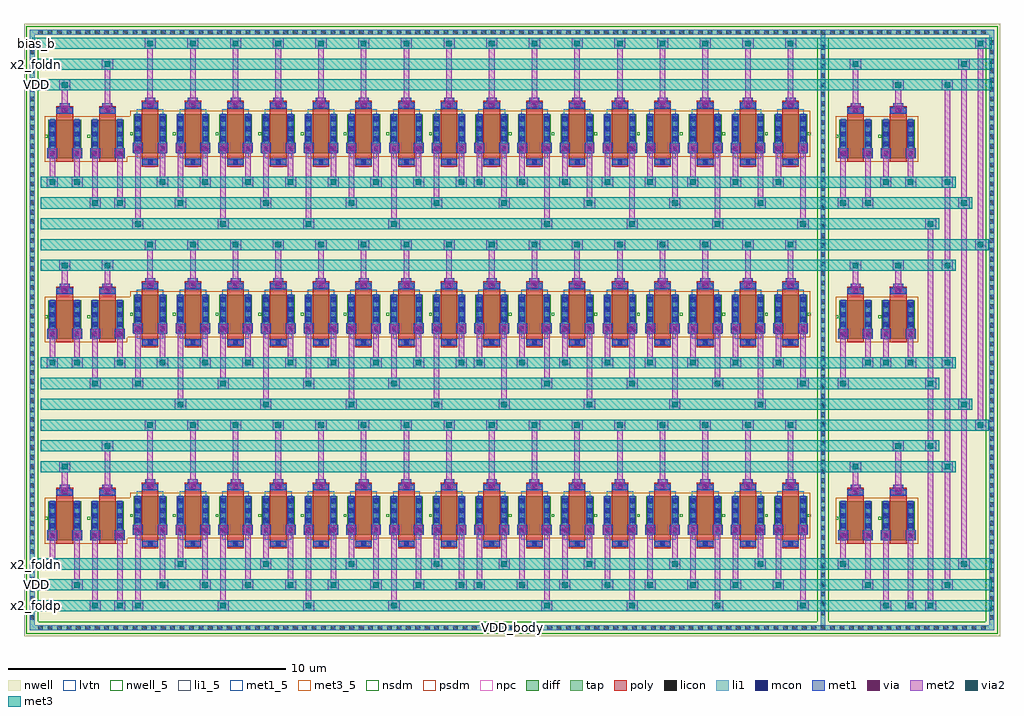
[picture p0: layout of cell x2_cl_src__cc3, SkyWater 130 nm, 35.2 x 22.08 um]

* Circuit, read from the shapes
.subckt x2_cl_src__cc3 VDD VDD_body bias_b x2_foldn x2_foldp
XM1 VDD VDD x2_foldn VDD_body sky130_fd_pr__pfet_01v8 w=1.4 l=0.6 m=2
XM2 VDD VDD VDD VDD_body sky130_fd_pr__pfet_01v8 w=1.4 l=0.6 m=4
XM3 x2_foldp x2_foldp x2_foldp VDD_body sky130_fd_pr__pfet_01v8 w=1.4 l=0.6 m=2
XM4 VDD VDD x2_foldp VDD_body sky130_fd_pr__pfet_01v8 w=1.4 l=0.6 m=2
XM5 x2_foldn x2_foldn x2_foldn VDD_body sky130_fd_pr__pfet_01v8 w=1.4 l=0.6 m=2
XM6 VDD bias_b x2_foldp VDD_body sky130_fd_pr__pfet_01v8_lvt w=1.4 l=0.6 m=24
XM7 VDD bias_b x2_foldn VDD_body sky130_fd_pr__pfet_01v8_lvt w=1.4 l=0.6 m=24
.ends

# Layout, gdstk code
from math import pi, radians
import gdstk
lib = gdstk.Library(unit=1e-6, precision=1e-09)
def R(c, l, rs):  # rectangles x0, y0, x1, y1
    for r in rs: c.add(gdstk.rectangle(r[:2], r[2:], *l))
def A(c, l, x, y, w, h, nx, ny, dx, dy):  # array of equal rectangles
    R(c, l, [(x+i*dx, y+j*dy, x+i*dx+w, y+j*dy+h) for i in range(nx) for j in range(ny)])
nwell_5 = (64, 5)
nwell = (64, 20)
diff = (65, 20)
tap = (65, 44)
poly = (66, 20)
licon = (66, 44)
li1_5 = (67, 5)
li1 = (67, 20)
mcon = (67, 44)
met1_5 = (68, 5)
met1 = (68, 20)
via = (68, 44)
met2 = (69, 20)
via2 = (69, 44)
met3_5 = (70, 5)
met3 = (70, 20)
nsdm = (93, 44)
psdm = (94, 20)
npc = (95, 20)
lvtn = (125, 44)

sky130_fd_pr__pfet_01v8_ = lib.new_cell('sky130_fd_pr__pfet_01v8_7A4LUF')
R(sky130_fd_pr__pfet_01v8_, nwell, [(-0.77,-1.19,0.77,1.02)])
R(sky130_fd_pr__pfet_01v8_, diff, [(-0.59,-0.88,0.59,0.52)])
R(sky130_fd_pr__pfet_01v8_, poly, [(-0.3,-1.01,0.3,1.005)])
A(sky130_fd_pr__pfet_01v8_, licon, -0.53, -0.775, 0.17, 0.17, 1, 4, 0, 0.34)
A(sky130_fd_pr__pfet_01v8_, licon, 0.36, -0.775, 0.17, 0.17, 1, 4, 0, 0.34)
R(sky130_fd_pr__pfet_01v8_, licon, [(-0.085,0.755,0.085,0.925)])
R(sky130_fd_pr__pfet_01v8_, li1, [(-0.53,-0.9,-0.36,0.54), (0.36,-0.9,0.53,0.54), (-0.3,0.755,0.3,0.925)])
A(sky130_fd_pr__pfet_01v8_, mcon, -0.53, -0.805, 0.17, 0.17, 1, 4, 0, 0.36)
A(sky130_fd_pr__pfet_01v8_, mcon, 0.36, -0.805, 0.17, 0.17, 1, 4, 0, 0.36)
R(sky130_fd_pr__pfet_01v8_, mcon, [(-0.085,0.755,0.085,0.925)])
R(sky130_fd_pr__pfet_01v8_, met1, [(-0.56,-0.88,-0.33,0.52), (0.33,-0.88,0.56,0.52), (-0.28,0.725,0.28,0.955)])
R(sky130_fd_pr__pfet_01v8_, psdm, [(-0.715,-1.005,0.715,0.645)])
R(sky130_fd_pr__pfet_01v8_, npc, [(-0.185,0.655,0.185,1.025)])
sky130_fd_pr__pfet_01v8_.add(gdstk.Label('D', (-0.445,-0.18), layer=67, texttype=5))
sky130_fd_pr__pfet_01v8_.add(gdstk.Label('S', (0.445,-0.18), layer=67, texttype=5))
sky130_fd_pr__pfet_01v8_.add(gdstk.Label('G', (0,0.84), layer=67, texttype=5))

pfet_01v8_w1p4_l0p6_m2__ = lib.new_cell('pfet_01v8_W1p4_L0p6_m2__nf1_gtop_sdfull_ng')
R(pfet_01v8_w1p4_l0p6_m2__, nwell_5, [(0.05,1.055,0.15,1.155)])
R(pfet_01v8_w1p4_l0p6_m2__, nwell, [(0.05,1.055,0.15,1.155)])
R(pfet_01v8_w1p4_l0p6_m2__, met1_5, [(0.21,1.01,0.44,1.21), (1.1,1.01,1.33,1.21), (0.49,1.915,1.05,2.145)])
R(pfet_01v8_w1p4_l0p6_m2__, met1, [(0.21,1.01,0.44,1.21), (1.1,1.01,1.33,1.21), (0.49,1.915,1.05,2.145)])
pfet_01v8_w1p4_l0p6_m2__.add(gdstk.Reference(sky130_fd_pr__pfet_01v8_, (0.77,1.19)))
pfet_01v8_w1p4_l0p6_m2__.add(gdstk.Label('D', (0.325,1.11), layer=68, texttype=5))
pfet_01v8_w1p4_l0p6_m2__.add(gdstk.Label('S', (1.215,1.11), layer=68, texttype=5))
pfet_01v8_w1p4_l0p6_m2__.add(gdstk.Label('G', (0.77,2.03), layer=68, texttype=5))
pfet_01v8_w1p4_l0p6_m2__.add(gdstk.Label('B', (0.1,1.105), layer=64, texttype=5))

c_sky130_fd_pr__pfet_01v8_ = lib.new_cell('sky130_fd_pr__pfet_01v8_lvt_PJ46JE')
R(c_sky130_fd_pr__pfet_01v8_, nwell, [(-0.77,-1.2,0.77,1.2)])
R(c_sky130_fd_pr__pfet_01v8_, diff, [(-0.59,-0.7,0.59,0.7)])
R(c_sky130_fd_pr__pfet_01v8_, poly, [(-0.3,-1.185,0.3,1.185)])
A(c_sky130_fd_pr__pfet_01v8_, licon, -0.53, -0.595, 0.17, 0.17, 1, 4, 0, 0.34)
A(c_sky130_fd_pr__pfet_01v8_, licon, 0.36, -0.595, 0.17, 0.17, 1, 4, 0, 0.34)
R(c_sky130_fd_pr__pfet_01v8_, licon, [(-0.085,-1.105,0.085,-0.935), (-0.085,0.935,0.085,1.105)])
R(c_sky130_fd_pr__pfet_01v8_, li1, [(-0.3,-1.105,0.3,-0.935), (-0.53,-0.72,-0.36,0.72), (0.36,-0.72,0.53,0.72), (-0.3,0.935,0.3,1.105)])
A(c_sky130_fd_pr__pfet_01v8_, mcon, -0.53, -0.625, 0.17, 0.17, 1, 4, 0, 0.36)
A(c_sky130_fd_pr__pfet_01v8_, mcon, 0.36, -0.625, 0.17, 0.17, 1, 4, 0, 0.36)
R(c_sky130_fd_pr__pfet_01v8_, mcon, [(-0.085,-1.105,0.085,-0.935), (-0.085,0.935,0.085,1.105)])
R(c_sky130_fd_pr__pfet_01v8_, met1, [(-0.28,-1.135,0.28,-0.905), (-0.56,-0.7,-0.33,0.7), (0.33,-0.7,0.56,0.7), (-0.28,0.905,0.28,1.135)])
R(c_sky130_fd_pr__pfet_01v8_, psdm, [(-0.715,-0.825,0.715,0.825)])
R(c_sky130_fd_pr__pfet_01v8_, npc, [(-0.185,-1.205,0.185,-0.835), (-0.185,0.835,0.185,1.205)])
R(c_sky130_fd_pr__pfet_01v8_, lvtn, [(-0.48,-0.88,0.48,0.88)])
c_sky130_fd_pr__pfet_01v8_.add(gdstk.Label('D', (-0.445,0), layer=67, texttype=5))
c_sky130_fd_pr__pfet_01v8_.add(gdstk.Label('S', (0.445,0), layer=67, texttype=5))
c_sky130_fd_pr__pfet_01v8_.add(gdstk.Label('G', (0,1.02), layer=67, texttype=5))

pfet_01v8_lvt_w1p4_l0p6_ = lib.new_cell('pfet_01v8_lvt_W1p4_L0p6_m24__nf1_gboth_sdfull_ng')
R(pfet_01v8_lvt_w1p4_l0p6_, nwell_5, [(0.05,1.15,0.15,1.25)])
R(pfet_01v8_lvt_w1p4_l0p6_, nwell, [(0.05,1.15,0.15,1.25)])
R(pfet_01v8_lvt_w1p4_l0p6_, met1_5, [(0.21,1.2,0.44,1.4), (1.1,1.2,1.33,1.4), (0.49,2.105,1.05,2.335)])
R(pfet_01v8_lvt_w1p4_l0p6_, met1, [(0.21,1.2,0.44,1.4), (1.1,1.2,1.33,1.4), (0.49,2.105,1.05,2.335)])
pfet_01v8_lvt_w1p4_l0p6_.add(gdstk.Reference(c_sky130_fd_pr__pfet_01v8_, (0.77,1.2)))
pfet_01v8_lvt_w1p4_l0p6_.add(gdstk.Label('D', (0.325,1.3), layer=68, texttype=5))
pfet_01v8_lvt_w1p4_l0p6_.add(gdstk.Label('S', (1.215,1.3), layer=68, texttype=5))
pfet_01v8_lvt_w1p4_l0p6_.add(gdstk.Label('G', (0.77,2.22), layer=68, texttype=5))
pfet_01v8_lvt_w1p4_l0p6_.add(gdstk.Label('B', (0.1,1.2), layer=64, texttype=5))

x2_cl_src__cc3 = lib.new_cell('x2_cl_src__cc3')
R(x2_cl_src__cc3, nwell, [(-0.7,-3.15,34.5,18.93)])
R(x2_cl_src__cc3, tap, [(-0.485,-2.935,34.285,-2.765), (-0.485,-2.765,-0.315,18.545), (28.035,-2.765,28.205,18.545), (34.115,-2.765,34.285,18.545), (-0.485,18.545,34.285,18.715)])
A(x2_cl_src__cc3, licon, -0.185, -2.935, 0.17, 0.17, 101, 2, 0.34, 21.48)
A(x2_cl_src__cc3, licon, -0.485, -2.565, 0.17, 0.17, 1, 62, 0, 0.34)
A(x2_cl_src__cc3, licon, 34.115, -2.565, 0.17, 0.17, 1, 62, 0, 0.34)
A(x2_cl_src__cc3, licon, 28.035, -2.395, 0.17, 0.17, 1, 61, 0, 0.34)
R(x2_cl_src__cc3, li1_5, [(16.85,-2.9,16.95,-2.8)])
R(x2_cl_src__cc3, li1, [(-0.485,-2.935,34.285,-2.765), (-0.485,-2.765,-0.315,18.545), (28.035,-2.765,28.205,18.545), (34.115,-2.765,34.285,18.545), (-0.485,18.545,34.285,18.715)])
A(x2_cl_src__cc3, met1, 3.67, 2.14, 0.36, 0.36, 16, 2, 1.54, 7.26)
A(x2_cl_src__cc3, met1, 3.67, 15.91, 0.36, 0.36, 16, 1, 1.54, 0)
R(x2_cl_src__cc3, met1, [(0.145,0.31,0.505,0.67), (1.035,0.31,1.395,0.67), (1.685,0.31,2.045,0.67), (2.575,0.31,2.935,0.67), (28.665,0.31,29.025,0.67), (29.555,0.31,29.915,0.67), (30.205,0.31,30.565,0.67), (31.095,0.31,31.455,0.67), (3.225,0.505,3.585,0.865), (4.115,0.505,4.475,0.865), (4.765,0.505,5.125,0.865), (5.655,0.505,6.015,0.865), (6.305,0.505,6.665,0.865), (7.195,0.505,7.555,0.865), (7.845,0.505,8.205,0.865), (8.735,0.505,9.095,0.865), (9.385,0.505,9.745,0.865), (10.275,0.505,10.635,0.865), (10.925,0.505,11.285,0.865), (11.815,0.505,12.175,0.865), (12.465,0.505,12.825,0.865), (13.355,0.505,13.715,0.865), (14.005,0.505,14.365,0.865), (14.895,0.505,15.255,0.865), (15.545,0.505,15.905,0.865), (16.435,0.505,16.795,0.865), (17.085,0.505,17.445,0.865), (17.975,0.505,18.335,0.865), (18.625,0.505,18.985,0.865), (19.515,0.505,19.875,0.865), (20.165,0.505,20.525,0.865), (21.055,0.505,21.415,0.865), (21.705,0.505,22.065,0.865), (22.595,0.505,22.955,0.865), (23.245,0.505,23.605,0.865), (24.135,0.505,24.495,0.865), (24.785,0.505,25.145,0.865), (25.675,0.505,26.035,0.865), (26.325,0.505,26.685,0.865), (27.215,0.505,27.575,0.865), (0.59,1.945,0.95,2.305), (2.13,1.945,2.49,2.305), (29.11,1.945,29.47,2.305), (30.65,1.945,31.01,2.305), (0.145,7.57,0.505,7.93), (1.035,7.57,1.395,7.93), (1.685,7.57,2.045,7.93), (2.575,7.57,2.935,7.93), (28.665,7.57,29.025,7.93), (29.555,7.57,29.915,7.93), (30.205,7.57,30.565,7.93), (31.095,7.57,31.455,7.93), (3.225,7.765,3.585,8.125), (4.115,7.765,4.475,8.125), (4.765,7.765,5.125,8.125), (5.655,7.765,6.015,8.125), (6.305,7.765,6.665,8.125), (7.195,7.765,7.555,8.125), (7.845,7.765,8.205,8.125), (8.735,7.765,9.095,8.125), (9.385,7.765,9.745,8.125), (10.275,7.765,10.635,8.125), (10.925,7.765,11.285,8.125), (11.815,7.765,12.175,8.125), (12.465,7.765,12.825,8.125), (13.355,7.765,13.715,8.125), (14.005,7.765,14.365,8.125), (14.895,7.765,15.255,8.125), (15.545,7.765,15.905,8.125), (16.435,7.765,16.795,8.125), (17.085,7.765,17.445,8.125), (17.975,7.765,18.335,8.125), (18.625,7.765,18.985,8.125), (19.515,7.765,19.875,8.125), (20.165,7.765,20.525,8.125), (21.055,7.765,21.415,8.125), (21.705,7.765,22.065,8.125), (22.595,7.765,22.955,8.125), (23.245,7.765,23.605,8.125), (24.135,7.765,24.495,8.125), (24.785,7.765,25.145,8.125), (25.675,7.765,26.035,8.125), (26.325,7.765,26.685,8.125), (27.215,7.765,27.575,8.125), (0.59,9.205,0.95,9.565), (2.13,9.205,2.49,9.565), (29.11,9.205,29.47,9.565), (30.65,9.205,31.01,9.565), (0.145,14.08,0.505,14.44), (1.035,14.08,1.395,14.44), (1.685,14.08,2.045,14.44), (2.575,14.08,2.935,14.44), (28.665,14.08,29.025,14.44), (29.555,14.08,29.915,14.44), (30.205,14.08,30.565,14.44), (31.095,14.08,31.455,14.44), (3.225,14.275,3.585,14.635), (4.115,14.275,4.475,14.635), (4.765,14.275,5.125,14.635), (5.655,14.275,6.015,14.635), (6.305,14.275,6.665,14.635), (7.195,14.275,7.555,14.635), (7.845,14.275,8.205,14.635), (8.735,14.275,9.095,14.635), (9.385,14.275,9.745,14.635), (10.275,14.275,10.635,14.635), (10.925,14.275,11.285,14.635), (11.815,14.275,12.175,14.635), (12.465,14.275,12.825,14.635), (13.355,14.275,13.715,14.635), (14.005,14.275,14.365,14.635), (14.895,14.275,15.255,14.635), (15.545,14.275,15.905,14.635), (16.435,14.275,16.795,14.635), (17.085,14.275,17.445,14.635), (17.975,14.275,18.335,14.635), (18.625,14.275,18.985,14.635), (19.515,14.275,19.875,14.635), (20.165,14.275,20.525,14.635), (21.055,14.275,21.415,14.635), (21.705,14.275,22.065,14.635), (22.595,14.275,22.955,14.635), (23.245,14.275,23.605,14.635), (24.135,14.275,24.495,14.635), (24.785,14.275,25.145,14.635), (25.675,14.275,26.035,14.635), (26.325,14.275,26.685,14.635), (27.215,14.275,27.575,14.635), (0.59,15.715,0.95,16.075), (2.13,15.715,2.49,16.075), (29.11,15.715,29.47,16.075), (30.65,15.715,31.01,16.075)])
A(x2_cl_src__cc3, via, 3.775, 2.245, 0.15, 0.15, 16, 2, 1.54, 7.26)
A(x2_cl_src__cc3, via, 3.775, 16.015, 0.15, 0.15, 16, 1, 1.54, 0)
R(x2_cl_src__cc3, via, [(0.25,0.415,0.4,0.565), (1.14,0.415,1.29,0.565), (1.79,0.415,1.94,0.565), (2.68,0.415,2.83,0.565), (28.77,0.415,28.92,0.565), (29.66,0.415,29.81,0.565), (30.31,0.415,30.46,0.565), (31.2,0.415,31.35,0.565), (3.33,0.61,3.48,0.76), (4.22,0.61,4.37,0.76), (4.87,0.61,5.02,0.76), (5.76,0.61,5.91,0.76), (6.41,0.61,6.56,0.76), (7.3,0.61,7.45,0.76), (7.95,0.61,8.1,0.76), (8.84,0.61,8.99,0.76), (9.49,0.61,9.64,0.76), (10.38,0.61,10.53,0.76), (11.03,0.61,11.18,0.76), (11.92,0.61,12.07,0.76), (12.57,0.61,12.72,0.76), (13.46,0.61,13.61,0.76), (14.11,0.61,14.26,0.76), (15,0.61,15.15,0.76), (15.65,0.61,15.8,0.76), (16.54,0.61,16.69,0.76), (17.19,0.61,17.34,0.76), (18.08,0.61,18.23,0.76), (18.73,0.61,18.88,0.76), (19.62,0.61,19.77,0.76), (20.27,0.61,20.42,0.76), (21.16,0.61,21.31,0.76), (21.81,0.61,21.96,0.76), (22.7,0.61,22.85,0.76), (23.35,0.61,23.5,0.76), (24.24,0.61,24.39,0.76), (24.89,0.61,25.04,0.76), (25.78,0.61,25.93,0.76), (26.43,0.61,26.58,0.76), (27.32,0.61,27.47,0.76), (0.695,2.05,0.845,2.2), (2.235,2.05,2.385,2.2), (29.215,2.05,29.365,2.2), (30.755,2.05,30.905,2.2), (0.25,7.675,0.4,7.825), (1.14,7.675,1.29,7.825), (1.79,7.675,1.94,7.825), (2.68,7.675,2.83,7.825), (28.77,7.675,28.92,7.825), (29.66,7.675,29.81,7.825), (30.31,7.675,30.46,7.825), (31.2,7.675,31.35,7.825), (3.33,7.87,3.48,8.02), (4.22,7.87,4.37,8.02), (4.87,7.87,5.02,8.02), (5.76,7.87,5.91,8.02), (6.41,7.87,6.56,8.02), (7.3,7.87,7.45,8.02), (7.95,7.87,8.1,8.02), (8.84,7.87,8.99,8.02), (9.49,7.87,9.64,8.02), (10.38,7.87,10.53,8.02), (11.03,7.87,11.18,8.02), (11.92,7.87,12.07,8.02), (12.57,7.87,12.72,8.02), (13.46,7.87,13.61,8.02), (14.11,7.87,14.26,8.02), (15,7.87,15.15,8.02), (15.65,7.87,15.8,8.02), (16.54,7.87,16.69,8.02), (17.19,7.87,17.34,8.02), (18.08,7.87,18.23,8.02), (18.73,7.87,18.88,8.02), (19.62,7.87,19.77,8.02), (20.27,7.87,20.42,8.02), (21.16,7.87,21.31,8.02), (21.81,7.87,21.96,8.02), (22.7,7.87,22.85,8.02), (23.35,7.87,23.5,8.02), (24.24,7.87,24.39,8.02), (24.89,7.87,25.04,8.02), (25.78,7.87,25.93,8.02), (26.43,7.87,26.58,8.02), (27.32,7.87,27.47,8.02), (0.695,9.31,0.845,9.46), (2.235,9.31,2.385,9.46), (29.215,9.31,29.365,9.46), (30.755,9.31,30.905,9.46), (0.25,14.185,0.4,14.335), (1.14,14.185,1.29,14.335), (1.79,14.185,1.94,14.335), (2.68,14.185,2.83,14.335), (28.77,14.185,28.92,14.335), (29.66,14.185,29.81,14.335), (30.31,14.185,30.46,14.335), (31.2,14.185,31.35,14.335), (3.33,14.38,3.48,14.53), (4.22,14.38,4.37,14.53), (4.87,14.38,5.02,14.53), (5.76,14.38,5.91,14.53), (6.41,14.38,6.56,14.53), (7.3,14.38,7.45,14.53), (7.95,14.38,8.1,14.53), (8.84,14.38,8.99,14.53), (9.49,14.38,9.64,14.53), (10.38,14.38,10.53,14.53), (11.03,14.38,11.18,14.53), (11.92,14.38,12.07,14.53), (12.57,14.38,12.72,14.53), (13.46,14.38,13.61,14.53), (14.11,14.38,14.26,14.53), (15,14.38,15.15,14.53), (15.65,14.38,15.8,14.53), (16.54,14.38,16.69,14.53), (17.19,14.38,17.34,14.53), (18.08,14.38,18.23,14.53), (18.73,14.38,18.88,14.53), (19.62,14.38,19.77,14.53), (20.27,14.38,20.42,14.53), (21.16,14.38,21.31,14.53), (21.81,14.38,21.96,14.53), (22.7,14.38,22.85,14.53), (23.35,14.38,23.5,14.53), (24.24,14.38,24.39,14.53), (24.89,14.38,25.04,14.53), (25.78,14.38,25.93,14.53), (26.43,14.38,26.58,14.53), (27.32,14.38,27.47,14.53), (0.695,15.82,0.845,15.97), (2.235,15.82,2.385,15.97), (29.215,15.82,29.365,15.97), (30.755,15.82,30.905,15.97)])
A(x2_cl_src__cc3, met2, 3.205, -2.25, 0.4, 0.4, 4, 2, 3.08, 8.01)
A(x2_cl_src__cc3, met2, 17.955, -2.25, 0.4, 0.4, 4, 2, 3.08, 8.01)
A(x2_cl_src__cc3, met2, 3.305, -1.85, 0.2, 2.375, 4, 2, 3.08, 13.77)
A(x2_cl_src__cc3, met2, 18.055, -1.85, 0.2, 2.375, 4, 2, 3.08, 13.77)
A(x2_cl_src__cc3, met2, 4.095, -1.5, 0.4, 0.4, 8, 2, 1.54, 14.52)
A(x2_cl_src__cc3, met2, 15.525, -1.5, 0.4, 0.4, 8, 2, 1.54, 8.01)
A(x2_cl_src__cc3, met2, 4.195, -1.1, 0.2, 1.625, 8, 1, 1.54, 0)
A(x2_cl_src__cc3, met2, 15.625, -1.1, 0.2, 1.625, 8, 1, 1.54, 0)
A(x2_cl_src__cc3, met2, 4.745, -0.75, 0.4, 0.4, 4, 2, 3.08, 5.76)
A(x2_cl_src__cc3, met2, 16.415, -0.75, 0.4, 0.4, 4, 2, 3.08, 5.76)
A(x2_cl_src__cc3, met2, 28.645, -0.75, 0.4, 0.4, 1, 3, 0, 6.51)
A(x2_cl_src__cc3, met2, 4.845, -0.35, 0.2, 0.875, 4, 1, 3.08, 0)
A(x2_cl_src__cc3, met2, 16.515, -0.35, 0.2, 0.875, 4, 1, 3.08, 0)
A(x2_cl_src__cc3, met2, 3.72, 2.16, 0.26, 0.32, 16, 2, 1.54, 7.26)
A(x2_cl_src__cc3, met2, 3.75, 2.48, 0.2, 1.78, 16, 2, 1.54, 13.77)
A(x2_cl_src__cc3, met2, 29.09, 2.76, 0.4, 0.4, 1, 3, 0, 7.26)
A(x2_cl_src__cc3, met2, 30.63, 3.51, 0.4, 0.4, 1, 3, 0, 6.51)
A(x2_cl_src__cc3, met2, 3.65, 4.26, 0.4, 0.4, 16, 2, 1.54, 6.51)
A(x2_cl_src__cc3, met2, 4.845, 5.41, 0.2, 2.375, 4, 1, 3.08, 0)
A(x2_cl_src__cc3, met2, 16.515, 5.41, 0.2, 2.375, 4, 1, 3.08, 0)
A(x2_cl_src__cc3, met2, 3.305, 6.16, 0.2, 1.625, 4, 1, 3.08, 0)
A(x2_cl_src__cc3, met2, 18.055, 6.16, 0.2, 1.625, 4, 1, 3.08, 0)
A(x2_cl_src__cc3, met2, 1.015, 6.51, 0.4, 0.4, 10, 1, 1.54, 0)
A(x2_cl_src__cc3, met2, 4.195, 6.91, 0.2, 0.875, 8, 2, 1.54, 6.51)
A(x2_cl_src__cc3, met2, 15.625, 6.91, 0.2, 0.875, 8, 2, 1.54, 6.51)
A(x2_cl_src__cc3, met2, 3.75, 9.74, 0.2, 1.03, 16, 1, 1.54, 0)
A(x2_cl_src__cc3, met2, 3.205, 11.52, 0.4, 0.4, 4, 1, 3.08, 0)
A(x2_cl_src__cc3, met2, 17.955, 11.52, 0.4, 0.4, 4, 1, 3.08, 0)
A(x2_cl_src__cc3, met2, 4.745, 12.27, 0.4, 0.4, 4, 1, 3.08, 0)
A(x2_cl_src__cc3, met2, 16.415, 12.27, 0.4, 0.4, 4, 1, 3.08, 0)
A(x2_cl_src__cc3, met2, 4.845, 12.67, 0.2, 1.625, 4, 1, 3.08, 0)
A(x2_cl_src__cc3, met2, 16.515, 12.67, 0.2, 1.625, 4, 1, 3.08, 0)
A(x2_cl_src__cc3, met2, 15.525, 13.02, 0.4, 0.4, 8, 1, 1.54, 0)
A(x2_cl_src__cc3, met2, 3.72, 15.93, 0.26, 0.32, 16, 1, 1.54, 0)
A(x2_cl_src__cc3, met2, 3.65, 18.03, 0.4, 0.4, 16, 1, 1.54, 0)
R(x2_cl_src__cc3, met2, [(1.665,-2.25,2.065,-1.85), (2.555,-2.25,2.955,-1.85), (30.185,-2.25,30.585,-1.85), (31.075,-2.25,31.475,-1.85), (31.8,-2.25,32.2,-1.85), (1.765,-1.85,1.965,0.33), (2.655,-1.85,2.855,0.33), (30.285,-1.85,30.485,0.33), (31.175,-1.85,31.375,0.33), (31.9,-1.85,32.1,3.51), (1.015,-1.5,1.415,-1.1), (29.535,-1.5,29.935,-1.1), (32.4,-1.5,32.8,-1.1), (1.115,-1.1,1.315,0.33), (29.635,-1.1,29.835,0.33), (32.5,-1.1,32.7,2.76), (0.125,-0.75,0.525,-0.35), (33,-0.75,33.4,-0.35), (0.225,-0.35,0.425,0.33), (28.745,-0.35,28.945,0.33), (33.1,-0.35,33.3,5.01), (0.195,0.33,0.455,0.65), (1.085,0.33,1.345,0.65), (1.735,0.33,1.995,0.65), (2.625,0.33,2.885,0.65), (28.715,0.33,28.975,0.65), (29.605,0.33,29.865,0.65), (30.255,0.33,30.515,0.65), (31.145,0.33,31.405,0.65), (3.275,0.525,3.535,0.845), (4.165,0.525,4.425,0.845), (4.815,0.525,5.075,0.845), (5.705,0.525,5.965,0.845), (6.355,0.525,6.615,0.845), (7.245,0.525,7.505,0.845), (7.895,0.525,8.155,0.845), (8.785,0.525,9.045,0.845), (9.435,0.525,9.695,0.845), (10.325,0.525,10.585,0.845), (10.975,0.525,11.235,0.845), (11.865,0.525,12.125,0.845), (12.515,0.525,12.775,0.845), (13.405,0.525,13.665,0.845), (14.055,0.525,14.315,0.845), (14.945,0.525,15.205,0.845), (15.595,0.525,15.855,0.845), (16.485,0.525,16.745,0.845), (17.135,0.525,17.395,0.845), (18.025,0.525,18.285,0.845), (18.675,0.525,18.935,0.845), (19.565,0.525,19.825,0.845), (20.215,0.525,20.475,0.845), (21.105,0.525,21.365,0.845), (21.755,0.525,22.015,0.845), (22.645,0.525,22.905,0.845), (23.295,0.525,23.555,0.845), (24.185,0.525,24.445,0.845), (24.835,0.525,25.095,0.845), (25.725,0.525,25.985,0.845), (26.375,0.525,26.635,0.845), (27.265,0.525,27.525,0.845), (0.64,1.965,0.9,2.285), (2.18,1.965,2.44,2.285), (29.16,1.965,29.42,2.285), (30.7,1.965,30.96,2.285), (0.67,2.285,0.87,2.76), (2.21,2.285,2.41,3.51), (29.19,2.285,29.39,2.76), (30.73,2.285,30.93,3.51), (0.57,2.76,0.97,3.16), (32.4,2.76,32.8,3.16), (32.5,3.16,32.7,6.51), (2.11,3.51,2.51,3.91), (31.8,3.51,32.2,3.91), (31.9,3.91,32.1,5.76), (33.6,4.26,34,4.66), (33.7,4.66,33.9,10.77), (33,5.01,33.4,5.41), (33.1,5.41,33.3,12.27), (1.665,5.76,2.065,6.16), (31.8,5.76,32.2,6.16), (1.765,6.16,1.965,7.59), (28.745,6.16,28.945,7.59), (31.9,6.16,32.1,11.52), (0.125,6.51,0.525,6.91), (29.535,6.51,29.935,6.91), (30.185,6.51,30.585,6.91), (31.075,6.51,31.475,6.91), (32.4,6.51,32.8,6.91), (0.225,6.91,0.425,7.59), (1.115,6.91,1.315,7.59), (2.655,6.91,2.855,7.59), (29.635,6.91,29.835,7.59), (30.285,6.91,30.485,7.59), (31.175,6.91,31.375,7.59), (32.5,6.91,32.7,10.02), (0.195,7.59,0.455,7.91), (1.085,7.59,1.345,7.91), (1.735,7.59,1.995,7.91), (2.625,7.59,2.885,7.91), (28.715,7.59,28.975,7.91), (29.605,7.59,29.865,7.91), (30.255,7.59,30.515,7.91), (31.145,7.59,31.405,7.91), (3.275,7.785,3.535,8.105), (4.165,7.785,4.425,8.105), (4.815,7.785,5.075,8.105), (5.705,7.785,5.965,8.105), (6.355,7.785,6.615,8.105), (7.245,7.785,7.505,8.105), (7.895,7.785,8.155,8.105), (8.785,7.785,9.045,8.105), (9.435,7.785,9.695,8.105), (10.325,7.785,10.585,8.105), (10.975,7.785,11.235,8.105), (11.865,7.785,12.125,8.105), (12.515,7.785,12.775,8.105), (13.405,7.785,13.665,8.105), (14.055,7.785,14.315,8.105), (14.945,7.785,15.205,8.105), (15.595,7.785,15.855,8.105), (16.485,7.785,16.745,8.105), (17.135,7.785,17.395,8.105), (18.025,7.785,18.285,8.105), (18.675,7.785,18.935,8.105), (19.565,7.785,19.825,8.105), (20.215,7.785,20.475,8.105), (21.105,7.785,21.365,8.105), (21.755,7.785,22.015,8.105), (22.645,7.785,22.905,8.105), (23.295,7.785,23.555,8.105), (24.185,7.785,24.445,8.105), (24.835,7.785,25.095,8.105), (25.725,7.785,25.985,8.105), (26.375,7.785,26.635,8.105), (27.265,7.785,27.525,8.105), (0.64,9.225,0.9,9.545), (2.18,9.225,2.44,9.545), (29.16,9.225,29.42,9.545), (30.7,9.225,30.96,9.545), (0.67,9.545,0.87,10.02), (2.21,9.545,2.41,10.02), (29.19,9.545,29.39,10.02), (30.73,9.545,30.93,10.02), (0.57,10.02,0.97,10.42), (2.11,10.02,2.51,10.42), (32.4,10.02,32.8,10.42), (32.5,10.42,32.7,13.02), (33.6,10.77,34,11.17), (33.7,11.17,33.9,18.03), (31.8,11.52,32.2,11.92), (1.665,12.27,2.065,12.67), (2.555,12.27,2.955,12.67), (29.535,12.27,29.935,12.67), (33,12.27,33.4,12.67), (1.765,12.67,1.965,14.1), (2.655,12.67,2.855,14.1), (28.745,12.67,28.945,14.1), (29.635,12.67,29.835,14.1), (33.1,12.67,33.3,17.28), (0.125,13.02,0.525,13.42), (1.015,13.02,1.415,13.42), (30.185,13.02,30.585,13.42), (31.075,13.02,31.475,13.42), (32.4,13.02,32.8,13.42), (0.225,13.42,0.425,14.1), (1.115,13.42,1.315,14.1), (30.285,13.42,30.485,14.1), (31.175,13.42,31.375,14.1), (32.5,13.42,32.7,16.53), (0.195,14.1,0.455,14.42), (1.085,14.1,1.345,14.42), (1.735,14.1,1.995,14.42), (2.625,14.1,2.885,14.42), (28.715,14.1,28.975,14.42), (29.605,14.1,29.865,14.42), (30.255,14.1,30.515,14.42), (31.145,14.1,31.405,14.42), (3.275,14.295,3.535,14.615), (4.165,14.295,4.425,14.615), (4.815,14.295,5.075,14.615), (5.705,14.295,5.965,14.615), (6.355,14.295,6.615,14.615), (7.245,14.295,7.505,14.615), (7.895,14.295,8.155,14.615), (8.785,14.295,9.045,14.615), (9.435,14.295,9.695,14.615), (10.325,14.295,10.585,14.615), (10.975,14.295,11.235,14.615), (11.865,14.295,12.125,14.615), (12.515,14.295,12.775,14.615), (13.405,14.295,13.665,14.615), (14.055,14.295,14.315,14.615), (14.945,14.295,15.205,14.615), (15.595,14.295,15.855,14.615), (16.485,14.295,16.745,14.615), (17.135,14.295,17.395,14.615), (18.025,14.295,18.285,14.615), (18.675,14.295,18.935,14.615), (19.565,14.295,19.825,14.615), (20.215,14.295,20.475,14.615), (21.105,14.295,21.365,14.615), (21.755,14.295,22.015,14.615), (22.645,14.295,22.905,14.615), (23.295,14.295,23.555,14.615), (24.185,14.295,24.445,14.615), (24.835,14.295,25.095,14.615), (25.725,14.295,25.985,14.615), (26.375,14.295,26.635,14.615), (27.265,14.295,27.525,14.615), (0.64,15.735,0.9,16.055), (2.18,15.735,2.44,16.055), (29.16,15.735,29.42,16.055), (30.7,15.735,30.96,16.055), (0.67,16.055,0.87,16.53), (2.21,16.055,2.41,17.28), (29.19,16.055,29.39,17.28), (30.73,16.055,30.93,16.53), (0.57,16.53,0.97,16.93), (32.4,16.53,32.8,16.93), (2.11,17.28,2.51,17.68), (33,17.28,33.4,17.68), (33.6,18.03,34,18.43)])
A(x2_cl_src__cc3, via2, 3.305, -2.15, 0.2, 0.2, 4, 2, 3.08, 8.01)
A(x2_cl_src__cc3, via2, 18.055, -2.15, 0.2, 0.2, 4, 2, 3.08, 8.01)
A(x2_cl_src__cc3, via2, 4.195, -1.4, 0.2, 0.2, 8, 2, 1.54, 14.52)
A(x2_cl_src__cc3, via2, 15.625, -1.4, 0.2, 0.2, 8, 2, 1.54, 8.01)
A(x2_cl_src__cc3, via2, 4.845, -0.65, 0.2, 0.2, 4, 2, 3.08, 5.76)
A(x2_cl_src__cc3, via2, 16.515, -0.65, 0.2, 0.2, 4, 2, 3.08, 5.76)
A(x2_cl_src__cc3, via2, 28.745, -0.65, 0.2, 0.2, 1, 3, 0, 6.51)
A(x2_cl_src__cc3, via2, 29.19, 2.86, 0.2, 0.2, 1, 3, 0, 7.26)
A(x2_cl_src__cc3, via2, 30.73, 3.61, 0.2, 0.2, 1, 3, 0, 6.51)
A(x2_cl_src__cc3, via2, 3.75, 4.36, 0.2, 0.2, 16, 2, 1.54, 6.51)
A(x2_cl_src__cc3, via2, 1.115, 6.61, 0.2, 0.2, 10, 1, 1.54, 0)
A(x2_cl_src__cc3, via2, 3.305, 11.62, 0.2, 0.2, 4, 1, 3.08, 0)
A(x2_cl_src__cc3, via2, 18.055, 11.62, 0.2, 0.2, 4, 1, 3.08, 0)
A(x2_cl_src__cc3, via2, 4.845, 12.37, 0.2, 0.2, 4, 1, 3.08, 0)
A(x2_cl_src__cc3, via2, 16.515, 12.37, 0.2, 0.2, 4, 1, 3.08, 0)
A(x2_cl_src__cc3, via2, 15.625, 13.12, 0.2, 0.2, 8, 1, 1.54, 0)
A(x2_cl_src__cc3, via2, 3.75, 18.13, 0.2, 0.2, 16, 1, 1.54, 0)
R(x2_cl_src__cc3, via2, [(1.765,-2.15,1.965,-1.95), (2.655,-2.15,2.855,-1.95), (30.285,-2.15,30.485,-1.95), (31.175,-2.15,31.375,-1.95), (31.9,-2.15,32.1,-1.95), (1.115,-1.4,1.315,-1.2), (29.635,-1.4,29.835,-1.2), (32.5,-1.4,32.7,-1.2), (0.225,-0.65,0.425,-0.45), (33.1,-0.65,33.3,-0.45), (0.67,2.86,0.87,3.06), (32.5,2.86,32.7,3.06), (2.21,3.61,2.41,3.81), (31.9,3.61,32.1,3.81), (33.7,4.36,33.9,4.56), (33.1,5.11,33.3,5.31), (1.765,5.86,1.965,6.06), (31.9,5.86,32.1,6.06), (0.225,6.61,0.425,6.81), (29.635,6.61,29.835,6.81), (30.285,6.61,30.485,6.81), (31.175,6.61,31.375,6.81), (32.5,6.61,32.7,6.81), (0.67,10.12,0.87,10.32), (2.21,10.12,2.41,10.32), (32.5,10.12,32.7,10.32), (33.7,10.87,33.9,11.07), (31.9,11.62,32.1,11.82), (1.765,12.37,1.965,12.57), (2.655,12.37,2.855,12.57), (29.635,12.37,29.835,12.57), (33.1,12.37,33.3,12.57), (0.225,13.12,0.425,13.32), (1.115,13.12,1.315,13.32), (30.285,13.12,30.485,13.32), (31.175,13.12,31.375,13.32), (32.5,13.12,32.7,13.32), (0.67,16.63,0.87,16.83), (32.5,16.63,32.7,16.83), (2.21,17.38,2.41,17.58), (33.1,17.38,33.3,17.58), (33.7,18.13,33.9,18.33)])
A(x2_cl_src__cc3, met3_5, -0.3, -2.1, 0.1, 0.1, 1, 3, 0, 0.75)
A(x2_cl_src__cc3, met3_5, -0.3, 16.68, 0.1, 0.1, 1, 3, 0, 0.75)
A(x2_cl_src__cc3, met3, -0.4, -2.25, 34.6, 0.4, 1, 3, 0, 0.75)
A(x2_cl_src__cc3, met3, -0.4, 16.53, 34.6, 0.4, 1, 3, 0, 0.75)
R(x2_cl_src__cc3, met3, [(-0.1,2.76,32.9,3.16), (-0.1,3.51,32.3,3.91), (-0.1,4.26,34.1,4.66), (-0.1,5.01,33.5,5.41), (-0.1,5.76,32.3,6.16), (-0.1,6.51,32.9,6.91), (-0.1,10.02,32.9,10.42), (-0.1,10.77,34.1,11.17), (-0.1,11.52,32.3,11.92), (-0.1,12.27,33.5,12.67), (-0.1,13.02,32.9,13.42)])
R(x2_cl_src__cc3, nsdm, [(-0.61,-3.06,34.41,-2.64), (-0.61,-2.64,-0.19,18.42), (27.91,-2.64,28.33,18.42), (33.99,-2.64,34.41,18.42), (-0.61,18.42,34.41,18.84)])
A(x2_cl_src__cc3, psdm, 4.565, 0.375, 0.11, 1.65, 15, 2, 1.54, 7.26)
A(x2_cl_src__cc3, psdm, 4.565, 14.145, 0.11, 1.65, 15, 1, 1.54, 0)
R(x2_cl_src__cc3, psdm, [(1.485,0.185,1.595,1.835), (30.005,0.185,30.115,1.835), (3.025,0.375,3.135,1.835), (1.485,7.445,1.595,9.095), (30.005,7.445,30.115,9.095), (3.025,7.635,3.135,9.095), (1.485,13.955,1.595,15.605), (30.005,13.955,30.115,15.605), (3.025,14.145,3.135,15.605)])
x2_cl_src__cc3.add(gdstk.Reference(pfet_01v8_w1p4_l0p6_m2__, (30.06,13.77)))
x2_cl_src__cc3.add(gdstk.Reference(pfet_01v8_w1p4_l0p6_m2__, (28.52,13.77)))
x2_cl_src__cc3.add(gdstk.Reference(pfet_01v8_lvt_w1p4_l0p6_, (27.72,13.77), rotation=pi, x_reflection=True))
x2_cl_src__cc3.add(gdstk.Reference(pfet_01v8_lvt_w1p4_l0p6_, (26.18,13.77), rotation=pi, x_reflection=True))
x2_cl_src__cc3.add(gdstk.Reference(pfet_01v8_lvt_w1p4_l0p6_, (24.64,13.77), rotation=pi, x_reflection=True))
x2_cl_src__cc3.add(gdstk.Reference(pfet_01v8_lvt_w1p4_l0p6_, (23.1,13.77), rotation=pi, x_reflection=True))
x2_cl_src__cc3.add(gdstk.Reference(pfet_01v8_lvt_w1p4_l0p6_, (21.56,13.77), rotation=pi, x_reflection=True))
x2_cl_src__cc3.add(gdstk.Reference(pfet_01v8_lvt_w1p4_l0p6_, (20.02,13.77), rotation=pi, x_reflection=True))
x2_cl_src__cc3.add(gdstk.Reference(pfet_01v8_lvt_w1p4_l0p6_, (18.48,13.77), rotation=pi, x_reflection=True))
x2_cl_src__cc3.add(gdstk.Reference(pfet_01v8_lvt_w1p4_l0p6_, (16.94,13.77), rotation=pi, x_reflection=True))
x2_cl_src__cc3.add(gdstk.Reference(pfet_01v8_lvt_w1p4_l0p6_, (13.86,13.77)))
x2_cl_src__cc3.add(gdstk.Reference(pfet_01v8_lvt_w1p4_l0p6_, (12.32,13.77)))
x2_cl_src__cc3.add(gdstk.Reference(pfet_01v8_lvt_w1p4_l0p6_, (10.78,13.77)))
x2_cl_src__cc3.add(gdstk.Reference(pfet_01v8_lvt_w1p4_l0p6_, (9.24,13.77)))
x2_cl_src__cc3.add(gdstk.Reference(pfet_01v8_lvt_w1p4_l0p6_, (7.7,13.77)))
x2_cl_src__cc3.add(gdstk.Reference(pfet_01v8_lvt_w1p4_l0p6_, (6.16,13.77)))
x2_cl_src__cc3.add(gdstk.Reference(pfet_01v8_lvt_w1p4_l0p6_, (4.62,13.77)))
x2_cl_src__cc3.add(gdstk.Reference(pfet_01v8_lvt_w1p4_l0p6_, (3.08,13.77)))
x2_cl_src__cc3.add(gdstk.Reference(pfet_01v8_w1p4_l0p6_m2__, (1.54,13.77)))
x2_cl_src__cc3.add(gdstk.Reference(pfet_01v8_w1p4_l0p6_m2__, (0,13.77)))
x2_cl_src__cc3.add(gdstk.Reference(pfet_01v8_w1p4_l0p6_m2__, (30.06,7.26)))
x2_cl_src__cc3.add(gdstk.Reference(pfet_01v8_w1p4_l0p6_m2__, (28.52,7.26)))
x2_cl_src__cc3.add(gdstk.Reference(pfet_01v8_lvt_w1p4_l0p6_, (27.72,7.26), rotation=pi, x_reflection=True))
x2_cl_src__cc3.add(gdstk.Reference(pfet_01v8_lvt_w1p4_l0p6_, (26.18,7.26), rotation=pi, x_reflection=True))
x2_cl_src__cc3.add(gdstk.Reference(pfet_01v8_lvt_w1p4_l0p6_, (24.64,7.26), rotation=pi, x_reflection=True))
x2_cl_src__cc3.add(gdstk.Reference(pfet_01v8_lvt_w1p4_l0p6_, (23.1,7.26), rotation=pi, x_reflection=True))
x2_cl_src__cc3.add(gdstk.Reference(pfet_01v8_lvt_w1p4_l0p6_, (21.56,7.26), rotation=pi, x_reflection=True))
x2_cl_src__cc3.add(gdstk.Reference(pfet_01v8_lvt_w1p4_l0p6_, (20.02,7.26), rotation=pi, x_reflection=True))
x2_cl_src__cc3.add(gdstk.Reference(pfet_01v8_lvt_w1p4_l0p6_, (18.48,7.26), rotation=pi, x_reflection=True))
x2_cl_src__cc3.add(gdstk.Reference(pfet_01v8_lvt_w1p4_l0p6_, (16.94,7.26), rotation=pi, x_reflection=True))
x2_cl_src__cc3.add(gdstk.Reference(pfet_01v8_lvt_w1p4_l0p6_, (13.86,7.26)))
x2_cl_src__cc3.add(gdstk.Reference(pfet_01v8_lvt_w1p4_l0p6_, (12.32,7.26)))
x2_cl_src__cc3.add(gdstk.Reference(pfet_01v8_lvt_w1p4_l0p6_, (10.78,7.26)))
x2_cl_src__cc3.add(gdstk.Reference(pfet_01v8_lvt_w1p4_l0p6_, (9.24,7.26)))
x2_cl_src__cc3.add(gdstk.Reference(pfet_01v8_lvt_w1p4_l0p6_, (7.7,7.26)))
x2_cl_src__cc3.add(gdstk.Reference(pfet_01v8_lvt_w1p4_l0p6_, (6.16,7.26)))
x2_cl_src__cc3.add(gdstk.Reference(pfet_01v8_lvt_w1p4_l0p6_, (4.62,7.26)))
x2_cl_src__cc3.add(gdstk.Reference(pfet_01v8_lvt_w1p4_l0p6_, (3.08,7.26)))
x2_cl_src__cc3.add(gdstk.Reference(pfet_01v8_w1p4_l0p6_m2__, (1.54,7.26)))
x2_cl_src__cc3.add(gdstk.Reference(pfet_01v8_w1p4_l0p6_m2__, (0,7.26)))
x2_cl_src__cc3.add(gdstk.Reference(pfet_01v8_w1p4_l0p6_m2__, (30.06,0)))
x2_cl_src__cc3.add(gdstk.Reference(pfet_01v8_w1p4_l0p6_m2__, (28.52,0)))
x2_cl_src__cc3.add(gdstk.Reference(pfet_01v8_lvt_w1p4_l0p6_, (27.72,0), rotation=pi, x_reflection=True))
x2_cl_src__cc3.add(gdstk.Reference(pfet_01v8_lvt_w1p4_l0p6_, (26.18,0), rotation=pi, x_reflection=True))
x2_cl_src__cc3.add(gdstk.Reference(pfet_01v8_lvt_w1p4_l0p6_, (24.64,0), rotation=pi, x_reflection=True))
x2_cl_src__cc3.add(gdstk.Reference(pfet_01v8_lvt_w1p4_l0p6_, (23.1,0), rotation=pi, x_reflection=True))
x2_cl_src__cc3.add(gdstk.Reference(pfet_01v8_lvt_w1p4_l0p6_, (21.56,0), rotation=pi, x_reflection=True))
x2_cl_src__cc3.add(gdstk.Reference(pfet_01v8_lvt_w1p4_l0p6_, (20.02,0), rotation=pi, x_reflection=True))
x2_cl_src__cc3.add(gdstk.Reference(pfet_01v8_lvt_w1p4_l0p6_, (18.48,0), rotation=pi, x_reflection=True))
x2_cl_src__cc3.add(gdstk.Reference(pfet_01v8_lvt_w1p4_l0p6_, (16.94,0), rotation=pi, x_reflection=True))
x2_cl_src__cc3.add(gdstk.Reference(pfet_01v8_lvt_w1p4_l0p6_, (13.86,0)))
x2_cl_src__cc3.add(gdstk.Reference(pfet_01v8_lvt_w1p4_l0p6_, (12.32,0)))
x2_cl_src__cc3.add(gdstk.Reference(pfet_01v8_lvt_w1p4_l0p6_, (10.78,0)))
x2_cl_src__cc3.add(gdstk.Reference(pfet_01v8_lvt_w1p4_l0p6_, (9.24,0)))
x2_cl_src__cc3.add(gdstk.Reference(pfet_01v8_lvt_w1p4_l0p6_, (7.7,0)))
x2_cl_src__cc3.add(gdstk.Reference(pfet_01v8_lvt_w1p4_l0p6_, (6.16,0)))
x2_cl_src__cc3.add(gdstk.Reference(pfet_01v8_lvt_w1p4_l0p6_, (4.62,0)))
x2_cl_src__cc3.add(gdstk.Reference(pfet_01v8_lvt_w1p4_l0p6_, (3.08,0)))
x2_cl_src__cc3.add(gdstk.Reference(pfet_01v8_w1p4_l0p6_m2__, (1.54,0)))
x2_cl_src__cc3.add(gdstk.Reference(pfet_01v8_w1p4_l0p6_m2__, (0,0)))
x2_cl_src__cc3.add(gdstk.Label('VDD', (-0.25,16.73), layer=70, texttype=5))
x2_cl_src__cc3.add(gdstk.Label('x2_foldn', (-0.25,17.48), layer=70, texttype=5))
x2_cl_src__cc3.add(gdstk.Label('bias_b', (-0.25,18.23), layer=70, texttype=5))
x2_cl_src__cc3.add(gdstk.Label('x2_foldn', (-0.25,-0.55), layer=70, texttype=5))
x2_cl_src__cc3.add(gdstk.Label('VDD', (-0.25,-1.3), layer=70, texttype=5))
x2_cl_src__cc3.add(gdstk.Label('x2_foldp', (-0.25,-2.05), layer=70, texttype=5))
x2_cl_src__cc3.add(gdstk.Label('VDD_body', (16.9,-2.85), layer=67, texttype=5))

lib.write_gds('x2_cl_src__cc3.gds')
